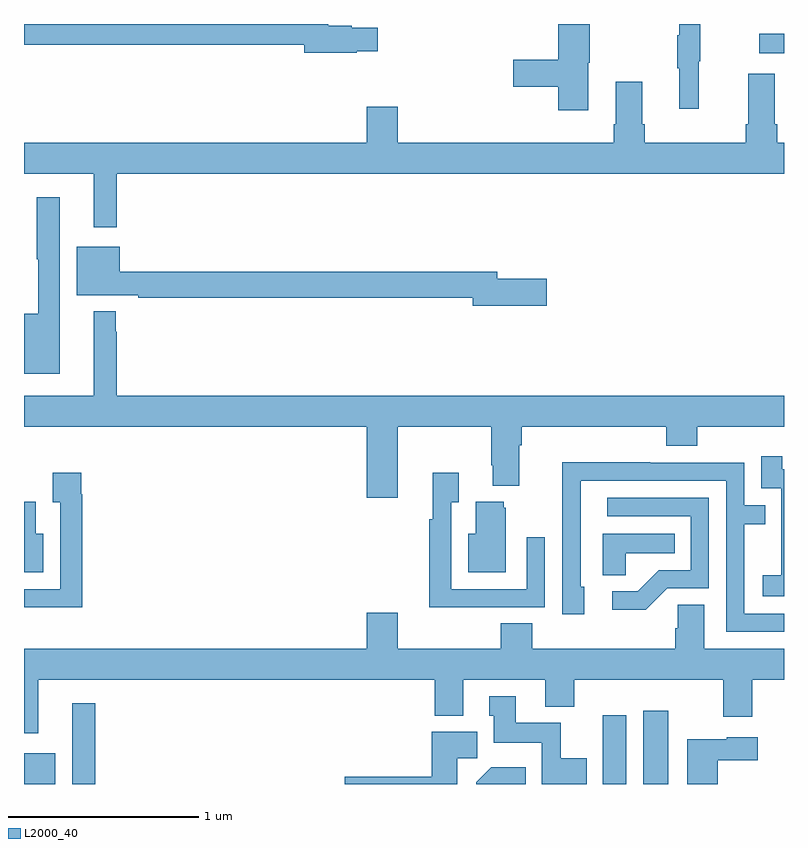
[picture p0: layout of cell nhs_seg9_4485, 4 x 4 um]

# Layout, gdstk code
import gdstk
lib = gdstk.Library(unit=1e-6, precision=1e-09)
def R(c, l, rs):  # rectangles x0, y0, x1, y1
    for r in rs: c.add(gdstk.rectangle(r[:2], r[2:], *l))
def P(c, l, *ps):  # polygons
    for p in ps: c.add(gdstk.Polygon(p, *l))
L2000_40 = (2000, 40)

nhs_seg9_4485 = lib.new_cell('nhs_seg9_4485')
R(nhs_seg9_4485, L2000_40, [(367,1234.5,367.165,1234.663), (367.253,1234.5,367.375,1234.924), (370.046,1234.5,370.171,1234.861), (370.259,1234.5,370.39,1234.885), (370.869,1238.345,371,1238.449)])
P(nhs_seg9_4485, L2000_40, [(370.55,1238.304),(370.558,1238.304),(370.558,1238.5),(370.448,1238.5),(370.448,1238.441),(370.437,1238.441),(370.437,1238.267),(370.448,1238.267),(370.448,1238.055),(370.55,1238.055)],
  [(368.75,1238.357),(368.863,1238.357),(368.863,1238.479),(368.724,1238.479),(368.724,1238.492),(368.602,1238.492),(368.602,1238.5),(367,1238.5),(367,1238.392),(368.474,1238.392),(368.474,1238.35),(368.75,1238.35)],
  [(369.97,1238.295),(369.978,1238.295),(369.978,1238.5),(369.812,1238.5),(369.812,1238.312),(369.576,1238.312),(369.576,1238.17),(369.812,1238.17),(369.812,1238.046),(369.97,1238.046)],
  [(367.489,1237.712),(371,1237.712),(371,1237.876),(370.964,1237.876),(370.964,1237.972),(370.951,1237.972),(370.951,1238.239),(370.811,1238.239),(370.811,1237.972),(370.799,1237.972),(370.799,1237.876),(370.268,1237.876),(370.268,1237.972),(370.255,1237.972),(370.255,1238.197),(370.115,1238.197),(370.115,1237.972),(370.103,1237.972),(370.103,1237.876),(368.968,1237.876),(368.968,1238.065),(368.804,1238.065),(368.804,1237.876),(367,1237.876),(367,1237.712),(367.367,1237.712),(367.367,1237.431),(367.489,1237.431)],
  [(367.189,1237.588),(367.068,1237.588),(367.068,1237.263),(367.075,1237.263),(367.075,1236.974),(367,1236.974),(367,1236.659),(367.189,1236.659)],
  [(369.751,1237.16),(369.49,1237.16),(369.49,1237.196),(367.504,1237.196),(367.504,1237.327),(367.277,1237.327),(367.277,1237.073),(367.6,1237.073),(367.6,1237.06),(369.362,1237.06),(369.362,1237.018),(369.751,1237.018)],
  [(367.489,1236.881),(367.482,1236.881),(367.482,1236.988),(367.367,1236.988),(367.367,1236.544),(367,1236.544),(367,1236.38),(368.804,1236.38),(368.804,1236.006),(368.968,1236.006),(368.968,1236.38),(369.46,1236.38),(369.46,1236.178),(369.467,1236.178),(369.467,1236.071),(369.607,1236.071),(369.607,1236.284),(369.62,1236.284),(369.62,1236.38),(370.379,1236.38),(370.379,1236.281),(370.544,1236.281),(370.544,1236.38),(371,1236.38),(371,1236.544),(367.489,1236.544)],
  [(371,1236.156),(370.99,1236.156),(370.99,1236.226),(370.881,1236.226),(370.881,1236.057),(370.986,1236.057),(370.986,1235.828),(370.985,1235.828),(370.985,1235.599),(370.887,1235.599),(370.887,1235.489),(371,1235.489)],
  [(371,1235.397),(370.791,1235.397),(370.791,1235.866),(370.901,1235.866),(370.901,1235.967),(370.791,1235.967),(370.791,1236.192),(370.295,1236.192),(370.295,1236.194),(369.832,1236.194),(369.832,1235.887),(369.834,1235.887),(369.834,1235.394),(369.949,1235.394),(369.949,1235.538),(369.93,1235.538),(369.93,1236.096),(370.695,1236.096),(370.695,1235.301),(371,1235.301)],
  [(369.425,1235.43),(369.741,1235.43),(369.741,1235.8),(369.645,1235.8),(369.645,1235.526),(369.249,1235.526),(369.249,1235.983),(369.289,1235.983),(369.289,1236.139),(369.152,1236.139),(369.152,1235.894),(369.133,1235.894),(369.133,1235.429),(369.425,1235.429)],
  [(367.307,1236.026),(367.3,1236.026),(367.3,1236.139),(367.151,1236.139),(367.151,1235.983),(367.191,1235.983),(367.191,1235.526),(367,1235.526),(367,1235.43),(367.015,1235.43),(367.015,1235.429),(367.307,1235.429)],
  [(370.386,1235.529),(370.605,1235.529),(370.605,1236.006),(370.071,1236.006),(370.071,1235.91),(370.509,1235.91),(370.509,1235.625),(370.34,1235.625),(370.229,1235.514),(370.095,1235.514),(370.095,1235.417),(370.273,1235.417)],
  [(367.102,1235.818),(367.063,1235.818),(367.063,1235.986),(367,1235.986),(367,1235.615),(367.102,1235.615)],
  [(369.535,1235.955),(369.524,1235.955),(369.524,1235.986),(369.377,1235.986),(369.377,1235.818),(369.338,1235.818),(369.338,1235.615),(369.535,1235.615)],
  [(370.167,1235.714),(370.424,1235.714),(370.424,1235.818),(370.046,1235.818),(370.046,1235.599),(370.167,1235.599)],
  [(367.075,1235.048),(369.161,1235.048),(369.161,1234.859),(369.313,1234.859),(369.313,1235.048),(369.743,1235.048),(369.743,1234.907),(369.896,1234.907),(369.896,1235.048),(370.679,1235.048),(370.679,1234.854),(370.832,1234.854),(370.832,1235.048),(371,1235.048),(371,1235.212),(370.579,1235.212),(370.579,1235.444),(370.44,1235.444),(370.44,1235.321),(370.427,1235.321),(370.427,1235.212),(369.674,1235.212),(369.674,1235.345),(369.509,1235.345),(369.509,1235.212),(368.968,1235.212),(368.968,1235.401),(368.804,1235.401),(368.804,1235.212),(367,1235.212),(367,1234.767),(367.075,1234.767)],
  [(369.961,1234.636),(369.825,1234.636),(369.825,1234.822),(369.589,1234.822),(369.589,1234.963),(369.449,1234.963),(369.449,1234.86),(369.473,1234.86),(369.473,1234.718),(369.726,1234.718),(369.726,1234.5),(369.961,1234.5)],
  [(369.28,1234.636),(369.385,1234.636),(369.385,1234.774),(369.146,1234.774),(369.146,1234.538),(368.688,1234.538),(368.688,1234.5),(369.28,1234.5)],
  [(370.652,1234.625),(370.861,1234.625),(370.861,1234.747),(370.698,1234.747),(370.698,1234.735),(370.49,1234.735),(370.49,1234.5),(370.652,1234.5)],
  [(369.641,1234.588),(369.458,1234.588),(369.38,1234.51),(369.38,1234.5),(369.641,1234.5)])

lib.write_gds('nhs_seg9_4485.gds')
